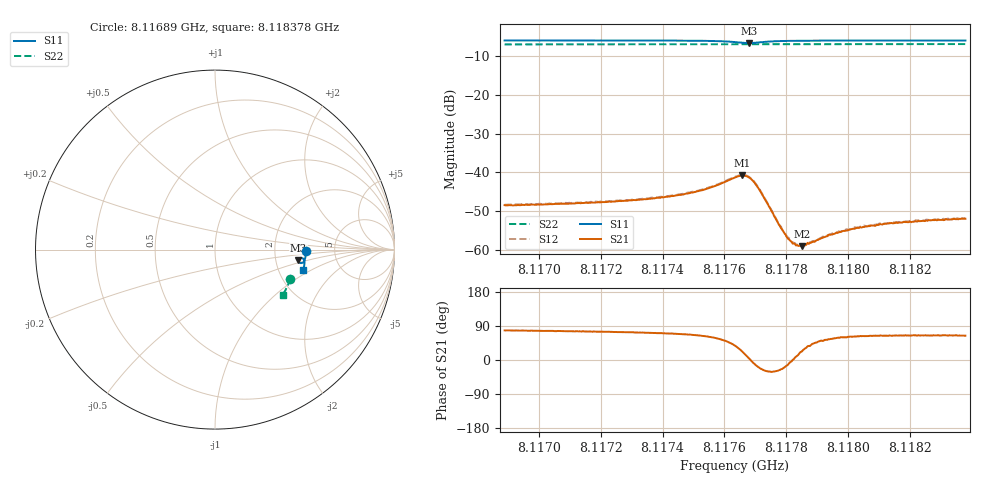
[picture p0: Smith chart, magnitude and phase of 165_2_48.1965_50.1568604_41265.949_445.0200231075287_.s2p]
#  HZ  S  RI  R  50.00
! Rohde & Schwarz Vector Network Analyzer
! Rohde-Schwarz,ZNB20-2Port,1311601062101988,3.16
! Created: UTC 3/20/2024, 11:43:23 AM
! freq[Hz]  re:S11  im:S11  re:S21  im:S21  re:S12  im:S12  re:S22  im:S22
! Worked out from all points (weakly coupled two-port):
!   401 points, 8.11689 GHz to 8.118378 GHz, reference 50 ohm
!   highest |S21| = -40.77 dB at 8.117656 GHz (marker M1); lowest = -59.0 dB at 8.11785 GHz (marker M2)
!   lowest |S11| = -6.6 dB at 8.117679 GHz (marker M3), VSWR 2.76, Z = 135 - j20.3 ohm
!   |S11| at or under -10 dB: nowhere
!   |S22| runs from -6.9 to -6.8 dB; largest |S21 - S12| = 0.00023
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8.1168901e9  0.5063 -0.00857  0.000773 0.0037  0.000821 0.00376  0.4202 -0.1621
8.1171393e9  0.5051 -0.0282  0.00103 0.0039  0.00105 0.00395  0.4144 -0.1785
8.1173885e9  0.5021 -0.0496  0.00154 0.00447  0.0016 0.00452  0.4078 -0.1949
8.1175187e9  0.4976 -0.0634  0.00248 0.00524  0.00256 0.0053  0.4039 -0.2032
8.1175708e9  0.4925 -0.07  0.00354 0.00571  0.00371 0.00578  0.4021 -0.2066
8.117634e9  0.4769 -0.0752  0.00681 0.00527  0.00701 0.00531  0.3996 -0.2104
8.1176563e9  0.4683 -0.0701  0.00841 0.00361  0.00858 0.00358  0.3986 -0.2115
8.1176786e9  0.465 -0.0588  0.00862 0.000683  0.00879 0.000596  0.3979 -0.2121
8.1176935e9  0.4684 -0.0511  0.0076 -0.00107  0.00775 -0.00111  0.3977 -0.2127
8.1177121e9  0.4762 -0.0462  0.00567 -0.00212  0.00573 -0.0022  0.3976 -0.2137
8.1177828e9  0.4946 -0.0545  0.00174 -0.000784  0.00181 -0.000838  0.3964 -0.2186
8.1178014e9  0.4961 -0.0577  0.00142 -0.000355  0.00144 -0.000389  0.3957 -0.2199
8.1178125e9  0.4968 -0.0595  0.00131 -0.000127  0.00135 -0.000177  0.3955 -0.2205
8.1178274e9  0.4975 -0.0616  0.00119 0.000124  0.00122 0.000103  0.395 -0.2216
8.1178386e9  0.4977 -0.0632  0.00109 0.000272  0.00111 0.000248  0.3946 -0.2223
8.1178497e9  0.4981 -0.0647  0.00103 0.000427  0.00108 0.000436  0.3943 -0.223
8.1178832e9  0.4985 -0.0688  0.000936 0.00085  0.000974 0.000854  0.3932 -0.2252
8.1179353e9  0.4985 -0.0744  0.000903 0.00127  0.000889 0.00124  0.3915 -0.2284
8.1179874e9  0.4982 -0.0796  0.000891 0.00152  0.000931 0.00152  0.3899 -0.2316
8.1180469e9  0.4975 -0.0852  0.000891 0.00177  0.000948 0.00179  0.3879 -0.2354
8.1181324e9  0.4964 -0.0921  0.000936 0.00199  0.00098 0.00201  0.3848 -0.2407
8.1183779e9  0.4925 -0.1116  0.0011 0.00227  0.00112 0.00233  0.3762 -0.2555
